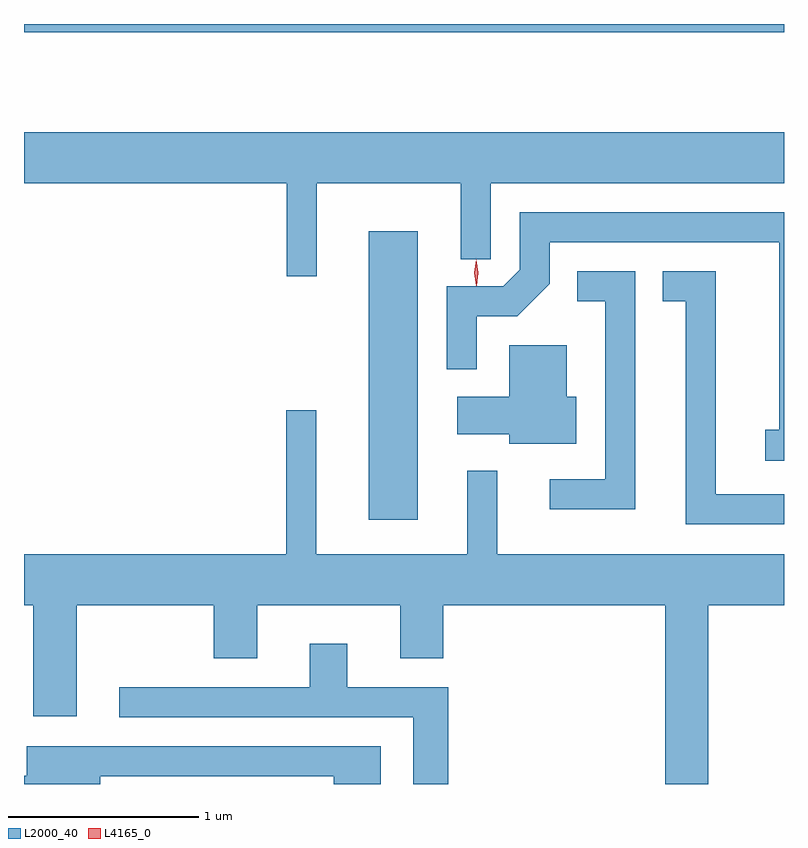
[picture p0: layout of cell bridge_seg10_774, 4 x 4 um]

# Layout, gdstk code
import gdstk
lib = gdstk.Library(unit=1e-6, precision=1e-09)
def R(c, l, rs):  # rectangles x0, y0, x1, y1
    for r in rs: c.add(gdstk.rectangle(r[:2], r[2:], *l))
def P(c, l, *ps):  # polygons
    for p in ps: c.add(gdstk.Polygon(p, *l))
L2000_40 = (2000, 40)
L4165_0 = (4165, 0)

bridge_seg10_774 = lib.new_cell('bridge_seg10_774')
R(bridge_seg10_774, L2000_40, [(426.876,2118.806,427.134,2120.324), (425.062,2121.371,429.062,2121.415)])
P(bridge_seg10_774, L2000_40, [(426.604,2120.576),(427.361,2120.576),(427.361,2120.178),(427.519,2120.178),(427.519,2120.576),(429.062,2120.576),(429.062,2120.844),(425.062,2120.844),(425.062,2120.576),(426.446,2120.576),(426.446,2120.088),(426.604,2120.088)],
  [(429.062,2120.424),(427.671,2120.424),(427.671,2120.122),(427.584,2120.034),(427.286,2120.034),(427.286,2119.598),(427.444,2119.598),(427.444,2119.876),(427.657,2119.876),(427.829,2120.049),(427.829,2120.266),(429.036,2120.266),(429.036,2119.279),(428.963,2119.279),(428.963,2119.116),(429.062,2119.116)],
  [(428.279,2120.114),(427.973,2120.114),(427.973,2119.956),(428.121,2119.956),(428.121,2119.019),(427.828,2119.019),(427.828,2118.861),(428.279,2118.861)],
  [(429.062,2118.939),(428.704,2118.939),(428.704,2120.114),(428.423,2120.114),(428.423,2119.956),(428.546,2119.956),(428.546,2118.781),(429.062,2118.781)],
  [(427.969,2119.454),(427.919,2119.454),(427.919,2119.724),(427.616,2119.724),(427.616,2119.454),(427.341,2119.454),(427.341,2119.256),(427.616,2119.256),(427.616,2119.206),(427.969,2119.206)],
  [(428.664,2118.356),(429.062,2118.356),(429.062,2118.624),(427.554,2118.624),(427.554,2119.063),(427.396,2119.063),(427.396,2118.624),(426.599,2118.624),(426.599,2119.383),(426.441,2119.383),(426.441,2118.624),(425.062,2118.624),(425.062,2118.356),(425.111,2118.356),(425.111,2117.771),(425.339,2117.771),(425.339,2118.356),(426.061,2118.356),(426.061,2118.076),(426.289,2118.076),(426.289,2118.356),(427.041,2118.356),(427.041,2118.076),(427.269,2118.076),(427.269,2118.356),(428.436,2118.356),(428.436,2117.415),(428.664,2117.415)],
  [(427.294,2117.924),(426.764,2117.924),(426.764,2118.154),(426.566,2118.154),(426.566,2117.924),(425.563,2117.924),(425.563,2117.766),(427.111,2117.766),(427.111,2117.415),(427.294,2117.415)],
  [(425.464,2117.456),(426.691,2117.456),(426.691,2117.415),(426.939,2117.415),(426.939,2117.614),(425.076,2117.614),(425.076,2117.459),(425.062,2117.459),(425.062,2117.415),(425.464,2117.415)])
P(bridge_seg10_774, L4165_0, [(427.443,2120.037),(427.432,2120.106),(427.441,2120.175),(427.441,2120.176),(427.442,2120.175),(427.452,2120.106),(427.444,2120.037),(427.444,2120.037)],
  [(427.443,2120.039),(427.443,2120.039),(427.432,2120.106),(427.441,2120.172),(427.441,2120.172),(427.442,2120.172),(427.452,2120.106),(427.444,2120.039)])

lib.write_gds('bridge_seg10_774.gds')
